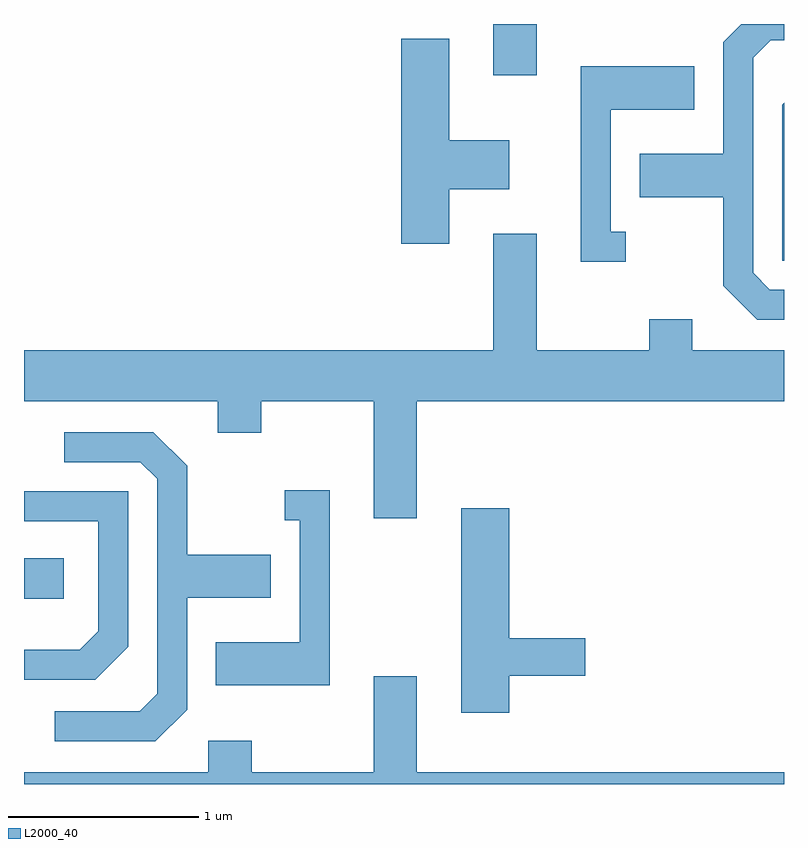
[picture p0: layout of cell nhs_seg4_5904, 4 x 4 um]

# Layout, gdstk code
import gdstk
lib = gdstk.Library(unit=1e-6, precision=1e-09)
def R(c, l, rs):  # rectangles x0, y0, x1, y1
    for r in rs: c.add(gdstk.rectangle(r[:2], r[2:], *l))
def P(c, l, *ps):  # polygons
    for p in ps: c.add(gdstk.Polygon(p, *l))
L2000_40 = (2000, 40)

nhs_seg4_5904 = lib.new_cell('nhs_seg4_5904')
R(nhs_seg4_5904, L2000_40, [(357.611,1366.956,357.819,1367.169), (360.081,1369.711,360.309,1369.982)])
P(nhs_seg4_5904, L2000_40, [(361.611,1368.584),(361.537,1368.584),(361.449,1368.672),(361.449,1369.804),(361.542,1369.896),(361.611,1369.896),(361.611,1369.982),(361.387,1369.982),(361.291,1369.887),(361.291,1369.299),(360.851,1369.299),(360.851,1369.071),(361.291,1369.071),(361.291,1368.604),(361.469,1368.426),(361.611,1368.426)],
  [(359.849,1369.111),(360.164,1369.111),(360.164,1369.369),(359.849,1369.369),(359.849,1369.904),(359.596,1369.904),(359.596,1368.826),(359.849,1368.826)],
  [(360.778,1368.889),(360.699,1368.889),(360.699,1369.531),(361.139,1369.531),(361.139,1369.759),(360.541,1369.759),(360.541,1368.731),(360.778,1368.731)],
  [(361.611,1369.567),(361.601,1369.557),(361.601,1368.736),(361.611,1368.736)],
  [(359.679,1367.996),(361.611,1367.996),(361.611,1368.264),(361.129,1368.264),(361.129,1368.429),(360.901,1368.429),(360.901,1368.264),(360.309,1368.264),(360.309,1368.879),(360.081,1368.879),(360.081,1368.264),(357.611,1368.264),(357.611,1367.996),(358.631,1367.996),(358.631,1367.831),(358.859,1367.831),(358.859,1367.996),(359.451,1367.996),(359.451,1367.381),(359.679,1367.381)],
  [(358.469,1366.374),(358.469,1366.961),(358.909,1366.961),(358.909,1367.189),(358.469,1367.189),(358.469,1367.657),(358.292,1367.834),(357.823,1367.834),(357.823,1367.676),(358.224,1367.676),(358.311,1367.589),(358.311,1366.457),(358.219,1366.364),(357.773,1366.364),(357.773,1366.206),(358.302,1366.206)],
  [(359.219,1367.529),(358.983,1367.529),(358.983,1367.371),(359.061,1367.371),(359.061,1366.729),(358.621,1366.729),(358.621,1366.501),(359.219,1366.501)],
  [(358.159,1366.704),(358.159,1367.524),(357.611,1367.524),(357.611,1367.366),(358.001,1367.366),(358.001,1366.787),(357.904,1366.689),(357.611,1366.689),(357.611,1366.531),(357.987,1366.531)],
  [(360.164,1366.551),(360.564,1366.551),(360.564,1366.749),(360.164,1366.749),(360.164,1367.434),(359.911,1367.434),(359.911,1366.356),(360.164,1366.356)],
  [(361.611,1366.044),(359.679,1366.044),(359.679,1366.549),(359.451,1366.549),(359.451,1366.044),(358.809,1366.044),(358.809,1366.209),(358.581,1366.209),(358.581,1366.044),(357.611,1366.044),(357.611,1365.982),(361.611,1365.982)])

lib.write_gds('nhs_seg4_5904.gds')
